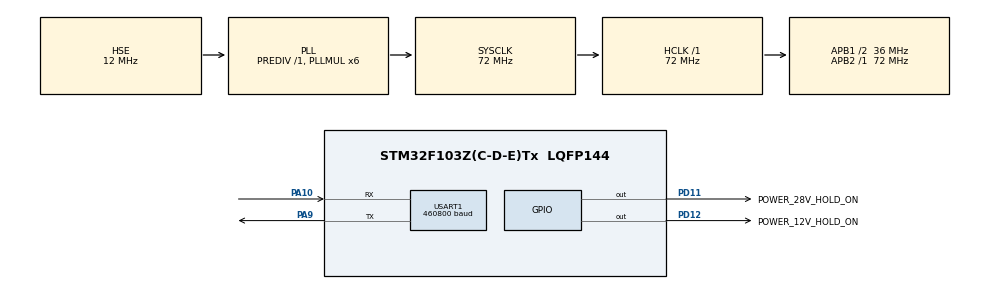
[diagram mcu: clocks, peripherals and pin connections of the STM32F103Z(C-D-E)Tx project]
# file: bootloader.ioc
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Mcu.Family=STM32F1
Mcu.Name=STM32F103Z(C-D-E)Tx
Mcu.Package=LQFP144
NVIC.PriorityGroup=NVIC_PRIORITYGROUP_4
OSC_IN.Mode=HSE-External-Oscillator
OSC_IN.Signal=RCC_OSC_IN
OSC_OUT.Mode=HSE-External-Oscillator
OSC_OUT.Signal=RCC_OSC_OUT
PA10.Mode=Asynchronous
PA10.Signal=USART1_RX
PA13.Mode=Serial_Wire
PA13.Signal=SYS_JTMS-SWDIO
PA14.Mode=Serial_Wire
PA14.Signal=SYS_JTCK-SWCLK
PA9.Mode=Asynchronous
PA9.Signal=USART1_TX
PD11.GPIO_Label=POWER_28V_HOLD_ON
PD11.PinState=GPIO_PIN_SET
PD11.Signal=GPIO_Output
PD12.GPIO_Label=POWER_12V_HOLD_ON
PD12.PinState=GPIO_PIN_SET
PD12.Signal=GPIO_Output
ProjectManager.HeapSize=0x200
ProjectManager.StackSize=0x400
ProjectManager.TargetToolchain=MDK-ARM V5
RCC.AHBFreq_Value=72000000
RCC.APB1CLKDivider=RCC_HCLK_DIV2
RCC.APB1Freq_Value=36000000
RCC.APB1TimFreq_Value=72000000
RCC.APB2Freq_Value=72000000
RCC.APB2TimFreq_Value=72000000
RCC.HCLKFreq_Value=72000000
RCC.HSE_VALUE=12000000
RCC.PLLMUL=RCC_PLL_MUL6
RCC.PLLSourceVirtual=RCC_PLLSOURCE_HSE
RCC.SYSCLKFreq_VALUE=72000000
RCC.SYSCLKSource=RCC_SYSCLKSOURCE_PLLCLK
RCC.USBFreq_Value=72000000
USART1.BaudRate=460800
USART1.VirtualMode=VM_ASYNC
board=custom

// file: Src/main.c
/* USER CODE BEGIN Header */
/**
  ******************************************************************************
  * @file           : main.c
  * @brief          : Main program body
  ******************************************************************************
  * @attention
  *
  * <h2><center>&copy; Copyright (c) 2019 STMicroelectronics.
  * All rights reserved.</center></h2>
  *
  * This software component is licensed by ST under BSD 3-Clause license,
  * the "License"; You may not use this file except in compliance with the
  * License. You may obtain a copy of the License at:
  *                        opensource.org/licenses/BSD-3-Clause
  *
  ******************************************************************************
  */
/* USER CODE END Header */

#include "main.h"
#include "usart.h"
#include "gpio.h"

/* USER CODE BEGIN Includes */
#include "menu.h"
#include "common.h"
/* USER CODE END Includes */

/* USER CODE BEGIN PD */
#define RX_TIME_1S (1000)
/* USER CODE END PD */

/* USER CODE BEGIN PV */
extern pFunction JumpToApplication;
extern uint32_t JumpAddress;
/* USER CODE END PV */

void SystemClock_Config(void);
/* USER CODE BEGIN PFP */
void SystemClock_Config(void);

/* USER CODE END PFP */

int main(void)
{

  /* MCU Configuration--------------------------------------------------------*/

  /* Reset of all peripherals, Initializes the Flash interface and the Systick. */
  HAL_Init();

  /* Configure the system clock */
  SystemClock_Config();

  /* Initialize all configured peripherals */
  MX_GPIO_Init();
  MX_USART1_UART_Init();
  /* USER CODE BEGIN 2 */
	Serial_PutString((uint8_t *)"\033[2J\033[1H");//--清屏指令
	Serial_PutString((uint8_t *)"\r\n-->正在进入bootloader程序，请稍等！！");
  HAL_Delay(1000);
  Serial_PutString((uint8_t *)"\033[2J\033[1H");//--清屏指令
	  Serial_PutString((uint8_t *)"\r\n==========================================================================");
    Serial_PutString((uint8_t *)"\r\n=                     深圳市伽利略机器人有限公司       （2019）          =");
    Serial_PutString((uint8_t *)"\r\n=                                                                        =");
    Serial_PutString((uint8_t *)"\r\n=                    STM32F103CBT6 bootloader程序       (版本 1.0.0)     =");
    Serial_PutString((uint8_t *)"\r\n=                                                                        =");
    Serial_PutString((uint8_t *)"\r\n=                           小鱼儿飞丫飞                                 =");
    Serial_PutString((uint8_t *)"\r\n==========================================================================");
    Serial_PutString((uint8_t *)"\r\n\n");
	uint8_t temp =5;
	uint8_t receive_data = 0;
   Serial_PutString((uint8_t *)"\r\n==========================================================================");
	 Serial_PutString((uint8_t *)"\r\n是否需要升级程序（Y/y or N/n),等待 5s !                                  =");
	 Serial_PutString((uint8_t *)"\r\n==========================================================================");
	 update: receive_data = 0;
    HAL_UART_Receive(&huart1, &receive_data, 1, RX_TIME_1S);
    temp--;
    if ((receive_data == 'Y') || (receive_data == 'y')) {
        /* Initialise Flash */
        FLASH_If_Init();

        /* Display main menu */
        Main_Menu ();
    }
		else if((temp !=0)&&((receive_data != 'N')||(receive_data != 'n')))
		{
		goto update;
		 }
		else  {
					Serial_PutString((uint8_t *)"\033[2J\033[1H");//--清屏指令
					Serial_PutString((uint8_t *)"\r\n-->正在进入APP程序，请稍等！！");
           HAL_Delay(1000);
        /* Test if user code is programmed starting from address "APPLICATION_ADDRESS" */
        if (((*(__IO uint32_t*)APPLICATION_ADDRESS) & 0x2FFE0000 ) == 0x20000000) {
            /* Jump to user application */
            JumpAddress = *(__IO uint32_t*) (APPLICATION_ADDRESS + 4);
            JumpToApplication = (pFunction) JumpAddress;
            /* Initialize user application's Stack Pointer */
            __set_MSP(*(__IO uint32_t*) APPLICATION_ADDRESS);
            /* close the all interrupt */
            __set_PRIMASK(1);//--关闭全局中断，记得在APP里面开启终中断

            JumpToApplication();
        }
    }

  /* USER CODE END 2 */

  /* Infinite loop */
    while (1) {

    }
}

void SystemClock_Config(void)
{
  RCC_OscInitTypeDef RCC_OscInitStruct = {0};
  RCC_ClkInitTypeDef RCC_ClkInitStruct = {0};

  /** Initializes the CPU, AHB and APB busses clocks
  */
  RCC_OscInitStruct.OscillatorType = RCC_OSCILLATORTYPE_HSE;
  RCC_OscInitStruct.HSEState = RCC_HSE_ON;
  RCC_OscInitStruct.HSEPredivValue = RCC_HSE_PREDIV_DIV1;
  RCC_OscInitStruct.HSIState = RCC_HSI_ON;
  RCC_OscInitStruct.PLL.PLLState = RCC_PLL_ON;
  RCC_OscInitStruct.PLL.PLLSource = RCC_PLLSOURCE_HSE;
  RCC_OscInitStruct.PLL.PLLMUL = RCC_PLL_MUL6;
  if (HAL_RCC_OscConfig(&RCC_OscInitStruct) != HAL_OK)
  {
    Error_Handler();
  }
  /** Initializes the CPU, AHB and APB busses clocks
  */
  RCC_ClkInitStruct.ClockType = RCC_CLOCKTYPE_HCLK|RCC_CLOCKTYPE_SYSCLK
                              |RCC_CLOCKTYPE_PCLK1|RCC_CLOCKTYPE_PCLK2;
  RCC_ClkInitStruct.SYSCLKSource = RCC_SYSCLKSOURCE_PLLCLK;
  RCC_ClkInitStruct.AHBCLKDivider = RCC_SYSCLK_DIV1;
  RCC_ClkInitStruct.APB1CLKDivider = RCC_HCLK_DIV2;
  RCC_ClkInitStruct.APB2CLKDivider = RCC_HCLK_DIV1;

  if (HAL_RCC_ClockConfig(&RCC_ClkInitStruct, FLASH_LATENCY_2) != HAL_OK)
  {
    Error_Handler();
  }
}

void Error_Handler(void)
{
}

/************************ (C) COPYRIGHT STMicroelectronics *****END OF FILE****/
